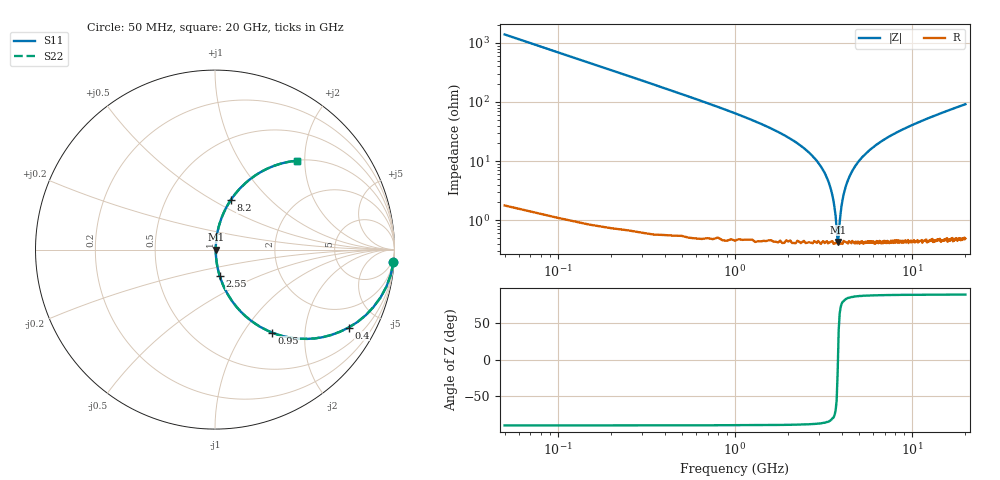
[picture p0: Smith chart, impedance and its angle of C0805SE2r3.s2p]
! AVX Thin Film Operation		Date: April 2012
! Description: Accu-P® Series, Thin Film, SMD, RF Capacitor
! Part Number: 08051J2R3QBTTR
!	100	MHz	-	20.05	GHz
!	Serial	Measurements
#	MHZ	S	MA	R	50
!	S11	S21	S12	S22
!	dB	Phase	dB	Phase	dB	Phase	dB	Phase
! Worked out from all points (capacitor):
!   400 points, 50 MHz to 20 GHz, reference 50 ohm
!   read as one part in series: C = 2.3 pF near 150 MHz
!   lowest |Z| = 430 mohm at 3.8 GHz (marker M1)
!   series resonance near 3.813 GHz, so ESL is about 760 pH
!   S11 on the Smith chart (normalised r, x): 50 MHz: 1, -28; 400 MHz: 1.01, -3.42; 950 MHz: 1.01, -1.37; 2.55 GHz: 1.01, -0.30; 8.2 GHz: 1.01, +0.61; 20 GHz: 1.01, +1.83
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50  0.997 -4.1  0.072 85.8  0.072 85.8  0.997 -4.1
100  0.989 -8.2  0.143 81.7  0.143 81.7  0.989 -8.2
150  0.977 -12.2  0.212 77.7  0.212 77.7  0.977 -12.2
400  0.862 -30.3  0.504 59.6  0.504 59.6  0.862 -30.3
950  0.562 -55.4  0.823 34.2  0.823 34.2  0.562 -55.4
1600  0.334 -69.8  0.938 19.5  0.938 19.5  0.334 -69.8
2550  0.148 -79.9  0.985 8.5  0.985 8.5  0.148 -79.9
3050  0.081 -82.4  0.993 4.7  0.993 4.7  0.081 -82.4
3400  0.042 -81.8  0.995 2.4  0.995 2.4  0.042 -81.8
3650  0.016 -74.1  0.996 0.9  0.996 0.9  0.016 -74.1
3700  0.012 -68.1  0.996 0.6  0.996 0.6  0.012 -68.1
3800  0.00438 -15.8  0.996 0.1  0.996 0.1  0.00438 -15.8
4000  0.018 75.4  0.996 -1.0  0.996 -1.0  0.018 75.4
4100  0.027 79.4  0.995 -1.5  0.995 -1.5  0.027 79.4
4500  0.06 82.5  0.994 -3.4  0.994 -3.4  0.06 82.5
5350  0.124 80.9  0.988 -7.1  0.988 -7.1  0.124 80.9
6700  0.21 76.7  0.974 -12.1  0.974 -12.1  0.21 76.7
8200  0.291 72.2  0.952 -16.9  0.952 -16.9  0.291 72.2
10050  0.378 67.2  0.922 -22.2  0.922 -22.2  0.378 67.2
13350  0.502 59.4  0.861 -30.2  0.861 -30.2  0.502 59.4
16700  0.6 52.8  0.796 -36.9  0.796 -36.9  0.6 52.8
20000  0.674 47.3  0.735 -42.4  0.735 -42.4  0.674 47.3
